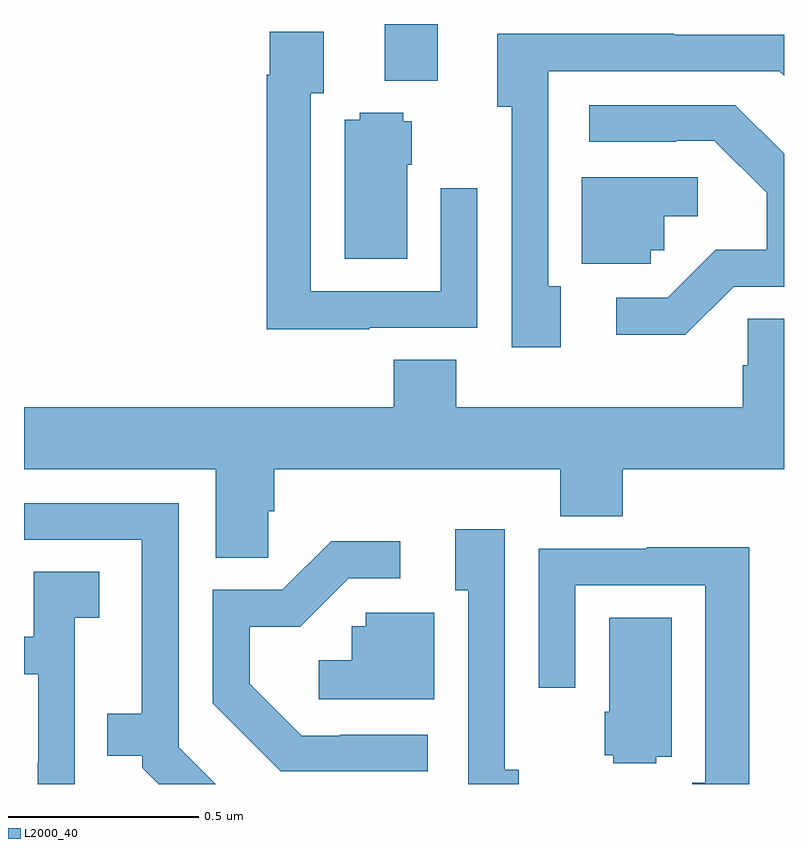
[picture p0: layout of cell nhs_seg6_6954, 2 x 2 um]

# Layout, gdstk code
import gdstk
lib = gdstk.Library(unit=1e-6, precision=1e-09)
def R(c, l, rs):  # rectangles x0, y0, x1, y1
    for r in rs: c.add(gdstk.rectangle(r[:2], r[2:], *l))
def P(c, l, *ps):  # polygons
    for p in ps: c.add(gdstk.Polygon(p, *l))
L2000_40 = (2000, 40)

nhs_seg6_6954 = lib.new_cell('nhs_seg6_6954')
R(nhs_seg6_6954, L2000_40, [(202.949,956.351,203.089,956.5)])
P(nhs_seg6_6954, L2000_40, [(202.909,955.701),(203.193,955.701),(203.193,956.068),(203.097,956.068),(203.097,955.797),(202.755,955.797),(202.755,956.318),(202.789,956.318),(202.789,956.479),(202.647,956.479),(202.647,956.366),(202.639,956.366),(202.639,955.697),(202.909,955.697)],
  [(203.413,955.81),(203.379,955.81),(203.379,956.376),(203.988,956.376),(204,956.364),(204,956.472),(203.711,956.472),(203.711,956.474),(203.246,956.474),(203.246,956.282),(203.283,956.282),(203.283,955.65),(203.413,955.65)],
  [(203.868,955.809),(204,955.809),(204,956.158),(203.872,956.286),(203.487,956.286),(203.487,956.19),(203.717,956.19),(203.717,956.193),(203.817,956.193),(203.954,956.056),(203.954,955.906),(203.821,955.906),(203.694,955.779),(203.559,955.779),(203.559,955.682),(203.74,955.682)],
  [(203.008,956.13),(203.02,956.13),(203.02,956.244),(202.998,956.244),(202.998,956.266),(202.884,956.266),(202.884,956.248),(202.844,956.248),(202.844,955.882),(203.008,955.882)],
  [(203.649,955.905),(203.685,955.905),(203.685,955.994),(203.773,955.994),(203.773,956.097),(203.468,956.097),(203.468,955.869),(203.649,955.869)],
  [(202.643,955.218),(202.658,955.218),(202.658,955.328),(203.411,955.328),(203.411,955.204),(203.576,955.204),(203.576,955.328),(204,955.328),(204,955.724),(203.905,955.724),(203.905,955.602),(203.891,955.602),(203.891,955.492),(203.138,955.492),(203.138,955.616),(202.973,955.616),(202.973,955.492),(202,955.492),(202,955.328),(202.505,955.328),(202.505,955.096),(202.643,955.096)],
  [(202.407,954.597),(202.407,955.239),(202,955.239),(202,955.143),(202.31,955.143),(202.31,954.685),(202.219,954.685),(202.219,954.575),(202.311,954.575),(202.311,954.543),(202.354,954.5),(202.504,954.5)],
  [(203.302,954.538),(203.265,954.538),(203.265,955.171),(203.135,955.171),(203.135,955.01),(203.169,955.01),(203.169,954.5),(203.302,954.5)],
  [(203.062,954.63),(202.831,954.63),(202.831,954.627),(202.731,954.627),(202.594,954.764),(202.594,954.914),(202.727,954.914),(202.854,955.041),(202.99,955.041),(202.99,955.139),(202.808,955.139),(202.68,955.011),(202.497,955.011),(202.497,954.713),(202.676,954.534),(203.062,954.534)],
  [(203.909,955.123),(203.639,955.123),(203.639,955.119),(203.355,955.119),(203.355,954.753),(203.451,954.753),(203.451,955.023),(203.793,955.023),(203.793,954.503),(203.759,954.503),(203.759,954.5),(203.909,954.5)],
  [(202.134,954.937),(202.198,954.937),(202.198,955.058),(202.026,955.058),(202.026,954.888),(202,954.888),(202,954.789),(202.038,954.789),(202.038,954.557),(202.036,954.557),(202.036,954.5),(202.134,954.5)],
  [(203.08,954.951),(202.899,954.951),(202.899,954.915),(202.863,954.915),(202.863,954.826),(202.776,954.826),(202.776,954.723),(203.08,954.723)],
  [(203.664,954.572),(203.704,954.572),(203.704,954.938),(203.54,954.938),(203.54,954.69),(203.528,954.69),(203.528,954.576),(203.55,954.576),(203.55,954.554),(203.664,954.554)])

lib.write_gds('nhs_seg6_6954.gds')
